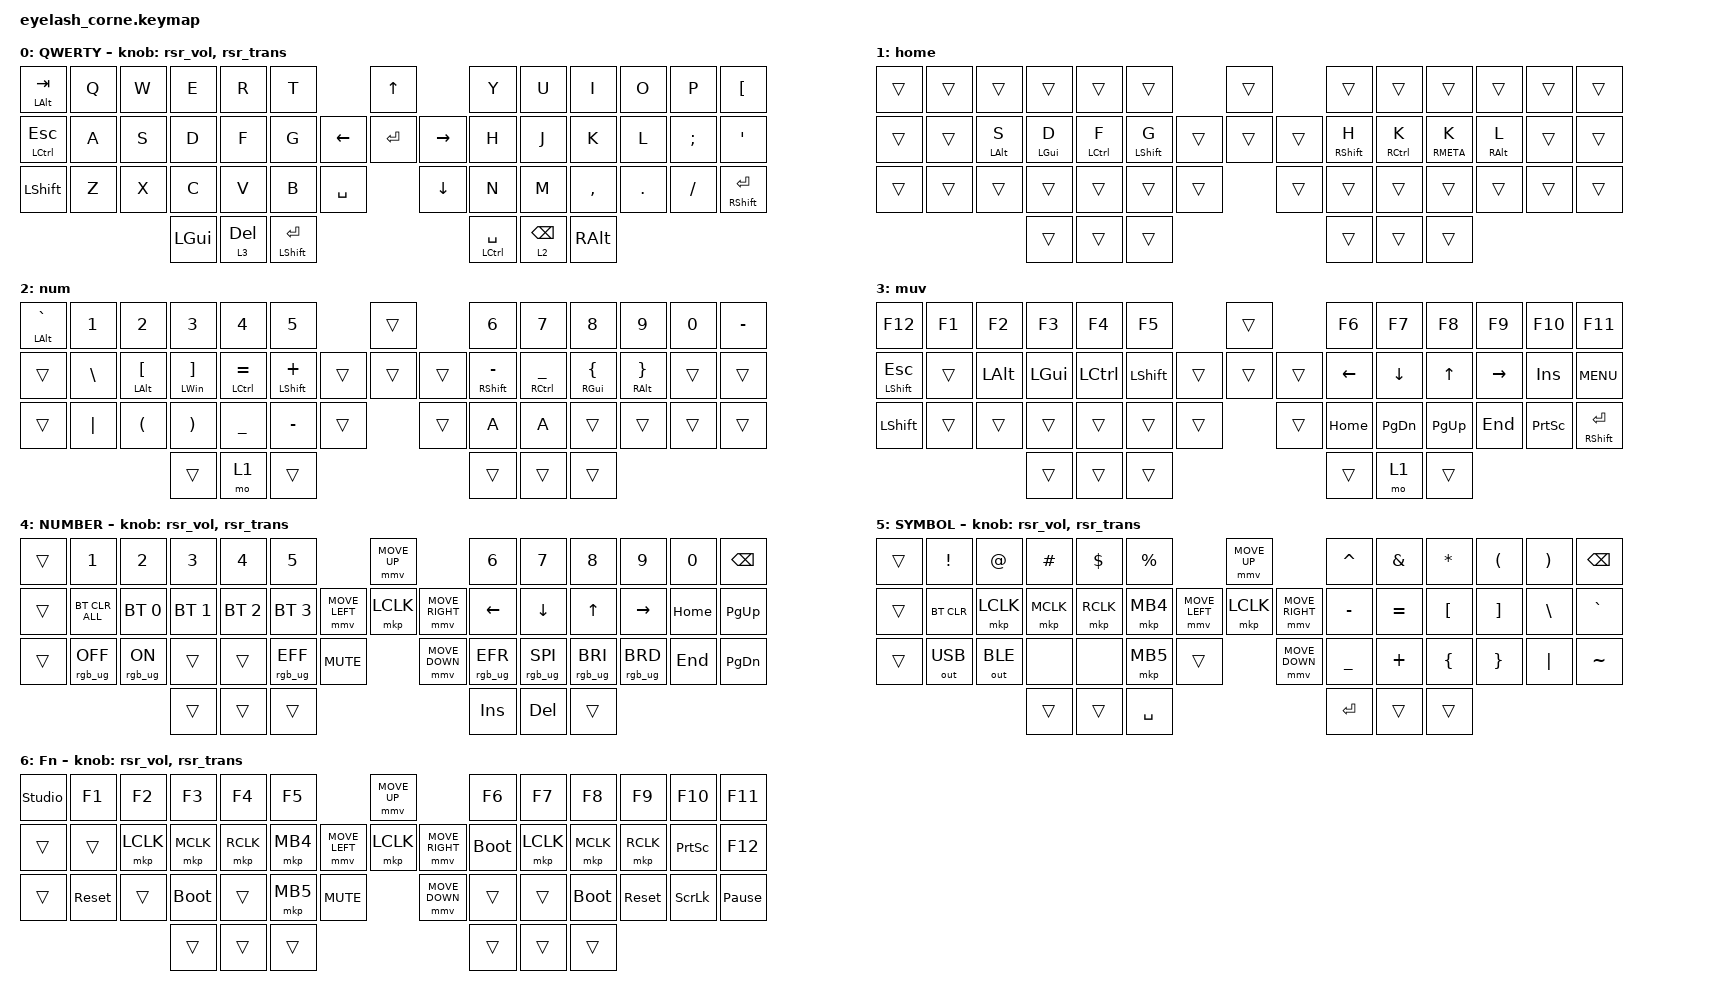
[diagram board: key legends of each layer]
#define ZMK_POINTING_DEFAULT_MOVE_VAL 1200  // 600
#define ZMK_POINTING_DEFAULT_SCRL_VAL 25   // 10

#include <input/processors.dtsi>
#include <zephyr/dt-bindings/input/input-event-codes.h>
#include <behaviors/runtime-sensor-rotate.dtsi>
#include <behaviors.dtsi>
#include <dt-bindings/zmk/bt.h>
#include <dt-bindings/zmk/keys.h>
#include <dt-bindings/zmk/outputs.h>
#include <dt-bindings/zmk/pointing.h>
#include <dt-bindings/zmk/rgb.h>

&mmv_input_listener { input-processors = <&zip_xy_scaler 2 1>; };

&msc_input_listener { input-processors = <&zip_scroll_scaler 2 1>; };

&msc {
    acceleration-exponent = <1>;      // 0
    time-to-max-speed-ms = <100>;       // 300
    delay-ms = <0>;                   // 0
};

&mmv {
    time-to-max-speed-ms = <500>;
    acceleration-exponent = <1>;
    trigger-period-ms = <16>;
};

&soft_off { hold-time-ms = <2000>; };

/ {
    behaviors {
        td0: td0 {
            compatible = "zmk,behavior-tap-dance";
            display-name = "Shift/Caps Lock Tap Dance";
            #binding-cells = <0>;
            bindings = <&kp LEFT_SHIFT>, <&kp CAPS>;
        };
    };

    rgb_encoder: rgb_encoder {
        compatible = "zmk,behavior-sensor-rotate";
        #sensor-binding-cells = <0>;
        bindings = <&rgb_ug RGB_BRI>, <&rgb_ug RGB_BRD>;
    };

    scroll_encoder: scroll_encoder {
        compatible = "zmk,behavior-sensor-rotate";
        #sensor-binding-cells = <0>;
        bindings = <&msc SCRL_DOWN>, <&msc SCRL_UP>;

        tap-ms = <100>;
    };

    behaviors {
        rsr_vol: rsr_vol {
            compatible = "zmk,behavior-runtime-sensor-rotate";
            #sensor-binding-cells = <0>;
            tap-ms = <5>;
            cw-binding = <&kp C_VOL_UP>;
            ccw-binding = <&kp C_VOL_DN>;
        };

        rsr_trans: rsr_trans {
            compatible = "zmk,behavior-runtime-sensor-rotate";
            #sensor-binding-cells = <0>;
            tap-ms = <0>;
        };
    };

    combos {
        compatible = "zmk,combos";

        softoff {
            bindings = <&soft_off>;
            key-positions = <1 15 29>;
        };
    };

    keymap {
        compatible = "zmk,keymap";

        default_layer {
            display-name = "QWERTY";
            bindings = <
&mt LALT TAB   &kp Q  &kp W  &kp E     &kp R      &kp T                                   &kp UP                &kp Y            &kp U            &kp I      &kp O    &kp P     &kp LBKT
&mt LCTRL ESC  &kp A  &kp S  &kp D     &kp F      &kp G                         &kp LEFT  &kp ENTER  &kp RIGHT  &kp H            &kp J            &kp K      &kp L    &kp SEMI  &kp SQT
&kp LSHFT      &kp Z  &kp X  &kp C     &kp V      &kp B            &kp SPACE              &kp DOWN              &kp N            &kp M            &kp COMMA  &kp DOT  &kp FSLH  &mt RIGHT_SHIFT ENTER
                             &kp LGUI  &lt 3 DEL  &mt LSHFT ENTER                                               &mt LCTRL SPACE  &lt 2 BACKSPACE  &kp RALT
            >;

            sensor-bindings = <&rsr_vol &rsr_trans>;
        };

        home {
            bindings = <
&trans  &trans  &trans          &trans      &trans       &trans                         &trans          &trans       &trans       &trans       &trans           &trans  &trans
&trans  &trans  &mt LEFT_ALT S  &mt LGUI D  &mt LCTRL F  &mt LSHFT G            &trans  &trans  &trans  &mt RSHFT H  &mt RCTRL K  &mt RMETA K  &mt RIGHT_ALT L  &trans  &trans
&trans  &trans  &trans          &trans      &trans       &trans       &trans            &trans          &trans       &trans       &trans       &trans           &trans  &trans
                                &trans      &trans       &trans                                         &trans       &trans       &trans
            >;
        };

        num {
            bindings = <
&mt LEFT_ALT GRAVE  &kp NUMBER_1   &kp NUMBER_2               &kp NUMBER_3                &kp NUMBER_4     &kp NUMBER_5                      &trans          &kp NUMBER_6     &kp NUMBER_7          &kp NUMBER_8              &kp NUMBER_9               &kp NUMBER_0  &kp MINUS
&trans              &kp BACKSLASH  &mt LEFT_ALT LEFT_BRACKET  &mt LEFT_WIN RIGHT_BRACKET  &mt LCTRL EQUAL  &mt LSHFT PLUS            &trans  &trans  &trans  &mt RSHFT MINUS  &mt RCTRL UNDERSCORE  &mt RIGHT_GUI LEFT_BRACE  &mt RIGHT_ALT RIGHT_BRACE  &trans        &trans
&trans              &kp PIPE       &kp LEFT_PARENTHESIS       &kp RIGHT_PARENTHESIS       &kp UNDERSCORE   &kp MINUS       &trans            &trans          &kp A            &kp A                 &trans                    &trans                     &trans        &trans
                                                              &trans                      &mo 1            &trans                                            &trans           &trans                &trans
            >;
        };

        muv {
            bindings = <
&kp F12           &kp F1  &kp F2    &kp F3    &kp F4     &kp F5                       &trans          &kp F6    &kp F7         &kp F8       &kp F9     &kp F10          &kp F11
&mt LSHFT ESCAPE  &trans  &kp LALT  &kp LGUI  &kp LCTRL  &kp LSHFT            &trans  &trans  &trans  &kp LEFT  &kp DOWN       &kp UP       &kp RIGHT  &kp INSERT       &kp C_MENU
&kp LSHFT         &trans  &trans    &trans    &trans     &trans     &trans            &trans          &kp HOME  &kp PAGE_DOWN  &kp PAGE_UP  &kp END    &kp PRINTSCREEN  &mt RSHFT ENTER
                                    &trans    &trans     &trans                                       &trans    &mo 1          &trans
            >;
        };

        lower_layer {
            display-name = "NUMBER";
            bindings = <
&trans  &kp N1           &kp N2          &kp N3        &kp N4        &kp N5                                         &mmv MOVE_UP                     &kp N6           &kp N7           &kp N8           &kp N9           &kp N0    &kp BSPC
&trans  &bt BT_CLR_ALL   &bt BT_SEL 0    &bt BT_SEL 1  &bt BT_SEL 2  &bt BT_SEL 3                   &mmv MOVE_LEFT  &mkp LCLK       &mmv MOVE_RIGHT  &kp LEFT         &kp DOWN         &kp UP           &kp RIGHT        &kp HOME  &kp PG_UP
&trans  &rgb_ug RGB_OFF  &rgb_ug RGB_ON  &trans        &trans        &rgb_ug RGB_EFF  &kp C_MUTE                    &mmv MOVE_DOWN                   &rgb_ug RGB_EFR  &rgb_ug RGB_SPI  &rgb_ug RGB_BRI  &rgb_ug RGB_BRD  &kp END   &kp PG_DN
                                         &trans        &trans        &trans                                                                          &kp INS          &kp DEL          &trans
            >;

            sensor-bindings = <&rsr_vol &rsr_trans>;
        };

        raise_layer {
            display-name = "SYMBOL";
            bindings = <
&trans  &kp EXCL      &kp AT        &kp HASH   &kp DLLR   &kp PRCNT                            &mmv MOVE_UP                     &kp CARET  &kp AMPS   &kp ASTRK  &kp LPAR  &kp RPAR  &kp BSPC
&trans  &bt BT_CLR    &mkp LCLK     &mkp MCLK  &mkp RCLK  &mkp MB4             &mmv MOVE_LEFT  &mkp LCLK       &mmv MOVE_RIGHT  &kp MINUS  &kp EQUAL  &kp LBKT   &kp RBKT  &kp BSLH  &kp GRAVE
&trans  &out OUT_USB  &out OUT_BLE  &none      &none      &mkp MB5   &trans                    &mmv MOVE_DOWN                   &kp UNDER  &kp PLUS   &kp LBRC   &kp RBRC  &kp PIPE  &kp TILDE
                                    &trans     &trans     &kp SPACE                                                             &kp RET    &trans     &trans
            >;

            sensor-bindings = <&rsr_vol &rsr_trans>;
        };

        layer_3 {
            display-name = "Fn";
            bindings = <
&studio_unlock  &kp F1      &kp F2     &kp F3       &kp F4     &kp F5                                  &mmv MOVE_UP                     &kp F6       &kp F7     &kp F8       &kp F9      &kp F10          &kp F11
&trans          &trans      &mkp LCLK  &mkp MCLK    &mkp RCLK  &mkp MB4                &mmv MOVE_LEFT  &mkp LCLK       &mmv MOVE_RIGHT  &bootloader  &mkp LCLK  &mkp MCLK    &mkp RCLK   &kp PRINTSCREEN  &kp F12
&trans          &sys_reset  &trans     &bootloader  &trans     &mkp MB5  &kp C_MUTE                    &mmv MOVE_DOWN                   &trans       &trans     &bootloader  &sys_reset  &kp SCROLLLOCK   &kp PAUSE_BREAK
                                       &trans       &trans     &trans                                                                   &trans       &trans     &trans
            >;

            sensor-bindings = <&rsr_vol &rsr_trans>;
        };
    };
};
